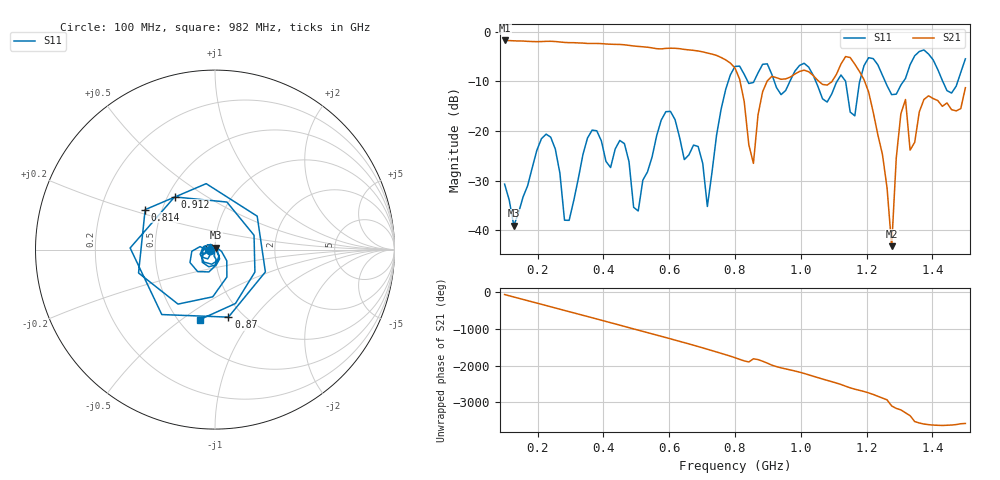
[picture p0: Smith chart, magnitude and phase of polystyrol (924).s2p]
! NanoVNA-App
! Date: 2025-09-25 15:37:04
! Start: 100MHz Stop: 1,5GHz Points: 101
! S-Parameter data: F S11 S21 S12 S22
# Hz S RI R 50
!  Frequency  S11_Real  S11_Imag  S21_Real  S21_Imag  S12_Real  S12_Imag  S22_Real  S22_Imag
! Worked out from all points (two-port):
!   101 points, 100 MHz to 1.5 GHz, reference 50 ohm
!   highest |S21| = -1.80 dB at 100 MHz (marker M1); lowest = -43.2 dB at 1.276 GHz (marker M2)
!   |S21| within 3 dB of the highest: start of sweep to 743.4 MHz
!   lowest |S11| = -39.1 dB at 128 MHz (marker M3), VSWR 1.02, Z = 50.3 + j1.06 ohm
!   |S11| at or under -10 dB: start of sweep to 779.7 MHz; 1.045 GHz to 1.11 GHz (65.07 MHz wide, 6.04 % of centre); 1.136 GHz to 1.179 GHz (43.19 MHz wide, 3.73 % of centre) (the widest 3 of 7)
!   S12 and S22 are empty: the file has one direction only
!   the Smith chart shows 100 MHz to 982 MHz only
!   S11 on the Smith chart (normalised r, x): 100 MHz: 0.94, -0.01; 814 MHz: 0.40, +0.22; 870 MHz: 0.85, -0.75; 912 MHz: 0.54, +0.37; 982 MHz: 0.63, -0.59
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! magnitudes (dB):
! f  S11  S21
! 100 MHz  -30.7  -1.8
! 128 MHz  -39.1  -1.9
! 212 MHz  -21.6  -2.0
! 282 MHz  -38.0  -2.2
! 338 MHz  -24.8  -2.3
! 464 MHz  -22.6  -2.7
! 506 MHz  -36.1  -3.0
! 576 MHz  -17.8  -3.5
! 716 MHz  -35.2  -4.3
! 800 MHz  -7.0  -7.3
! 814 MHz  -7.0  -9.6
! 856 MHz  -10.3  -26.5
! 870 MHz  -8.3  -16.7
! 912 MHz  -8.6  -9.0
! 982 MHz  -8.0  -8.6
! 1.038 GHz  -8.9  -8.9
! 1.164 GHz  -17.0  -6.6
! 1.192 GHz  -6.9  -9.7
! 1.276 GHz  -12.7  -43.2
! 1.318 GHz  -9.4  -13.7
! 1.332 GHz  -6.7  -23.9
! 1.5 GHz  -5.5  -11.3
